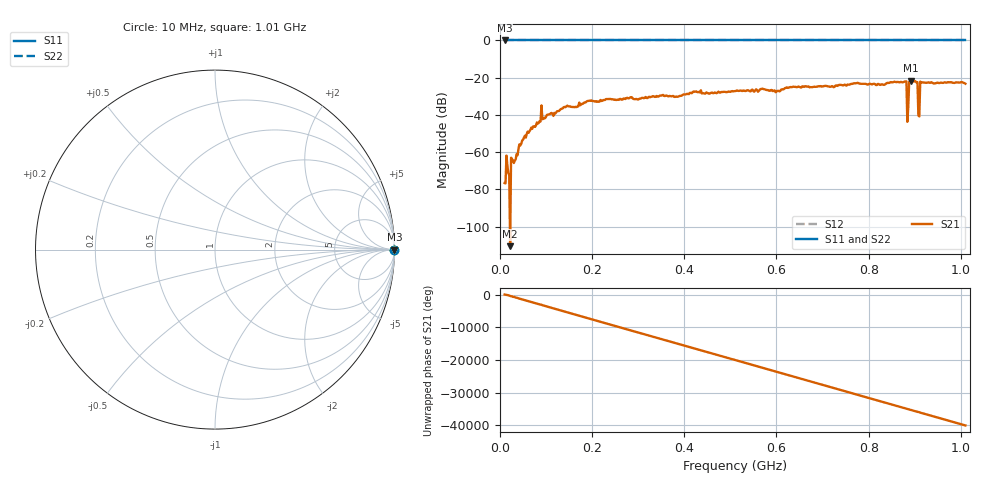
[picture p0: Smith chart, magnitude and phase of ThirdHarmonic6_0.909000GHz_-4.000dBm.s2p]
! 8/16/2025 5:45:24 AM
! C:\ANRITSUVNA\TEMP\TEMP.S2P
! CHANNEL.1
! TR.MEASUREMENT
! RAW.DATA
! RF.CORRECTION.OFF
! AVERAGING.OFF
! IF.BANDWIDTH: 5KHZ
! SWEEPTYPE:  FREQ.SWEEP(Linear)
! Reference Plane Port Info
! PORT:  PORT1  PORT2
! DISTANCE:  0  m  0  m
! TIME:  0  s  0  s
! PHASE.OFFSET:  0  deg.  0  deg.
! LOSS:  0  dB  0  dB
! REF.LOSS:  0  dB  0  dB
! REF.FREQ:  0  Hz  0  Hz
! Power Info
! POWER:  -20  dBm  -20  dBm
! EFF.POWER:  -20  dBm  -20  dBm
! SOURCE.ATTEN:  0  dB  0  dB
! TEST.ATTEN:  0  dB  0  dB
# GHZ S RI R 50.0
! FREQ.GHZ  S11RE  S11IM  S21RE  S21IM  S12RE  S12IM  S22RE  S22IM
!; PortSelection: Port_12
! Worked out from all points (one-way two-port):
!   501 points, 10 MHz to 1.01 GHz, reference 50 ohm
!   highest |S21| = -21.66 dB at 892 MHz (marker M1); lowest = -110.4 dB at 22 MHz (marker M2)
!   lowest |S11| = 0.0 dB at 10 MHz (marker M3)
!   |S11| at or under -10 dB: nowhere
!   |S22| runs from 0.0 to 0.0 dB; largest |S21 - S12| = 1.1
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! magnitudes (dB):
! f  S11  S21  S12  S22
! 10 MHz  0.0  -76.6  0.0  0.0
! 16 MHz  0.0  -67.1  0.0  0.0
! 22 MHz  0.0  -110.4  0.0  0.0
! 28 MHz  0.0  -64.3  0.0  0.0
! 34 MHz  0.0  -63.9  0.0  0.0
! 50 MHz  0.0  -53.3  0.0  0.0
! 88 MHz  0.0  -43.5  0.0  0.0
! 178 MHz  0.0  -34.0  0.0  0.0
! 344 MHz  0.0  -30.1  0.0  0.0
! 510 MHz  0.0  -27.2  0.0  0.0
! 678 MHz  0.0  -25.1  0.0  0.0
! 844 MHz  0.0  -22.8  0.0  0.0
! 878 MHz  0.0  -22.1  0.0  0.0
! 882 MHz  0.0  -22.0  0.0  0.0
! 886 MHz  0.0  -35.9  0.0  0.0
! 888 MHz  0.0  -22.1  0.0  0.0
! 892 MHz  0.0  -21.7  0.0  0.0
! 902 MHz  0.0  -22.0  0.0  0.0
! 906 MHz  0.0  -22.4  0.0  0.0
! 912 MHz  0.0  -22.1  0.0  0.0
! 916 MHz  0.0  -22.5  0.0  0.0
! 1.01 GHz  0.0  -23.2  0.0  0.0
